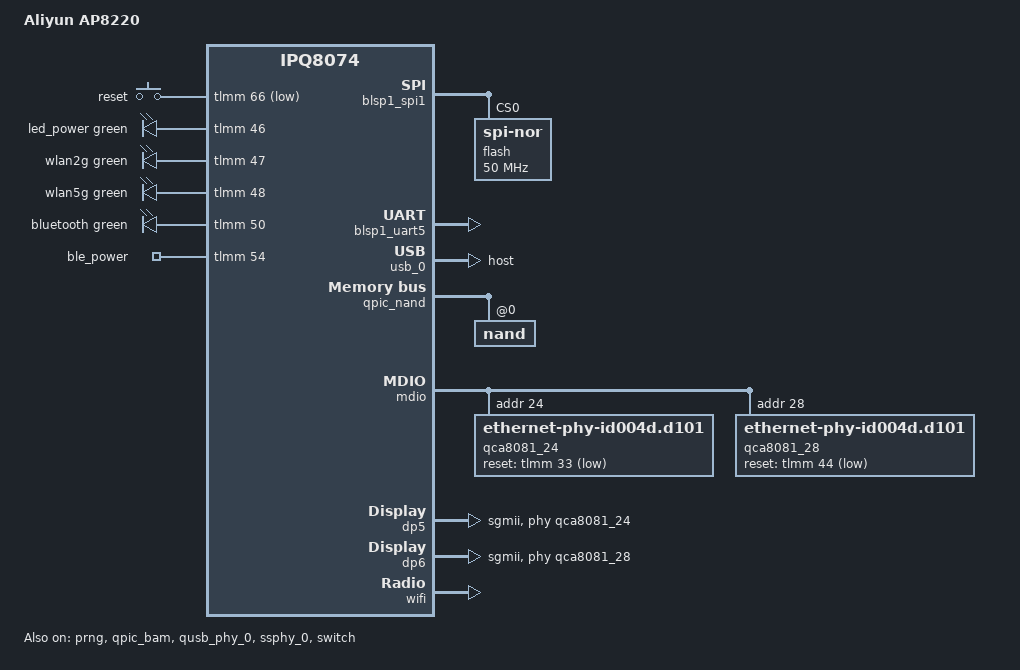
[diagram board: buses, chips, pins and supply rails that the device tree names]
// SPDX-License-Identifier: GPL-2.0-or-later OR MIT

/dts-v1/;

#include "ipq8074.dtsi"
#include "ipq8074-ess.dtsi"
#include "ipq8074-nss.dtsi"
#include "ipq8074-common.dtsi"
#include "ipq8074-ac-cpu.dtsi"

#include <dt-bindings/gpio/gpio.h>
#include <dt-bindings/input/input.h>
#include <dt-bindings/leds/common.h>

/ {
	model = "Aliyun AP8220";
	compatible = "aliyun,ap8220", "qcom,ipq8074";

	aliases {
		serial0 = &blsp1_uart5;

		led-boot = &led_power;
		led-failsafe = &led_power;
		led-running = &led_power;
		led-upgrade = &led_power;
	};

	chosen {
		stdout-path = "serial0:115200n8";
		bootargs-append = " root=/dev/ubiblock0_1";
	};

	keys {
		compatible = "gpio-keys";

		reset {
			label = "reset";
			linux,code = <KEY_RESTART>;
			gpios = <&tlmm 66 GPIO_ACTIVE_LOW>;
		};
	};

	leds {
		compatible = "gpio-leds";

		led_power: power {
			color = <LED_COLOR_ID_GREEN>;
			function = LED_FUNCTION_POWER;
			gpios = <&tlmm 46 GPIO_ACTIVE_HIGH>;
		};

		wlan2g {
			color = <LED_COLOR_ID_GREEN>;
			function = LED_FUNCTION_WLAN_2GHZ;
			gpios = <&tlmm 47 GPIO_ACTIVE_HIGH>;
			linux,default-trigger = "phy1radio";
		};

		wlan5g {
			color = <LED_COLOR_ID_GREEN>;
			function = LED_FUNCTION_WLAN_5GHZ;
			gpios = <&tlmm 48 GPIO_ACTIVE_HIGH>;
			linux,default-trigger = "phy0radio";
		};

		bluetooth {
			color = <LED_COLOR_ID_GREEN>;
			function = LED_FUNCTION_BLUETOOTH;
			gpios = <&tlmm 50 GPIO_ACTIVE_HIGH>;
		};
	};

	gpio-export {
		compatible = "gpio-export";

		ble-power {
			gpio-export,name = "ble_power";
			gpio-export,output = <1>;
			gpios = <&tlmm 54 GPIO_ACTIVE_HIGH>;
		};
	};
};

&tlmm {
	usb_mux_sel_pins: usb-mux-sel-pins {
		pins = "gpio27";
		function = "gpio";
		drive-strength = <8>;
		bias-pull-down;
	};
};


&blsp1_spi1 {
	status = "okay";

	flash@0 {
		compatible = "jedec,spi-nor";
		spi-max-frequency = <50000000>;
		reg = <0>;

		partitions {
			compatible = "qcom,smem-part";
			qcom,smem-flash-id = <0>;
		};
	};
};

&blsp1_uart5 {
	status = "okay";
};

&prng {
	status = "okay";
};

&qpic_bam {
	status = "okay";
};

&qusb_phy_0 {
	status = "okay";
};

&ssphy_0 {
	status = "okay";
};

&usb_0 {
	dr_mode = "host";

	status = "okay";
};
&qpic_nand {
	status = "okay";

	nand@0 {
		reg = <0>;

		nand-ecc-strength = <4>;
		nand-ecc-step-size = <512>;
		nand-bus-width = <8>;

		partitions {
			compatible = "qcom,smem-part";
			qcom,smem-flash-id = <1>;
		};
	};
};

&mdio {
	status = "okay";

	pinctrl-0 = <&mdio_pins>;
	pinctrl-names = "default";

	qca8081_24: ethernet-phy@24 {
		compatible = "ethernet-phy-id004d.d101";
		reg = <24>;
		reset-deassert-us = <10000>;
		reset-gpios = <&tlmm 33 GPIO_ACTIVE_LOW>;
	};

	qca8081_28: ethernet-phy@28 {
		compatible = "ethernet-phy-id004d.d101";
		reg = <28>;
		reset-deassert-us = <10000>;
		reset-gpios = <&tlmm 44 GPIO_ACTIVE_LOW>;
	};
};

&switch {
	status = "okay";

	switch_lan_bmp = <ESS_PORT5>;
	switch_wan_bmp = <ESS_PORT6>;
	switch_mac_mode1 = <MAC_MODE_SGMII_PLUS>;
	switch_mac_mode2 = <MAC_MODE_SGMII_PLUS>;

	qcom,port_phyinfo {
		port@5 {
			port_id = <5>;
			phy_address = <24>;
			port_mac_sel = "QGMAC_PORT";
		};

		port@6 {
			port_id = <6>;
			phy_address = <28>;
			port_mac_sel = "QGMAC_PORT";
		};
	};
};

&edma {
	status = "okay";
};

&dp5 {
	status = "okay";
	phy-mode = "sgmii";
	phy-handle = <&qca8081_24>;
	label = "wan";
};

&dp6 {
	status = "okay";
	phy-mode = "sgmii";
	phy-handle = <&qca8081_28>;
	label = "lan";
};

&wifi {
	status = "okay";
	qcom,ath11k-fw-memory-mode = <1>;
	qcom,ath11k-calibration-variant = "Aliyun-AP8220";
};
